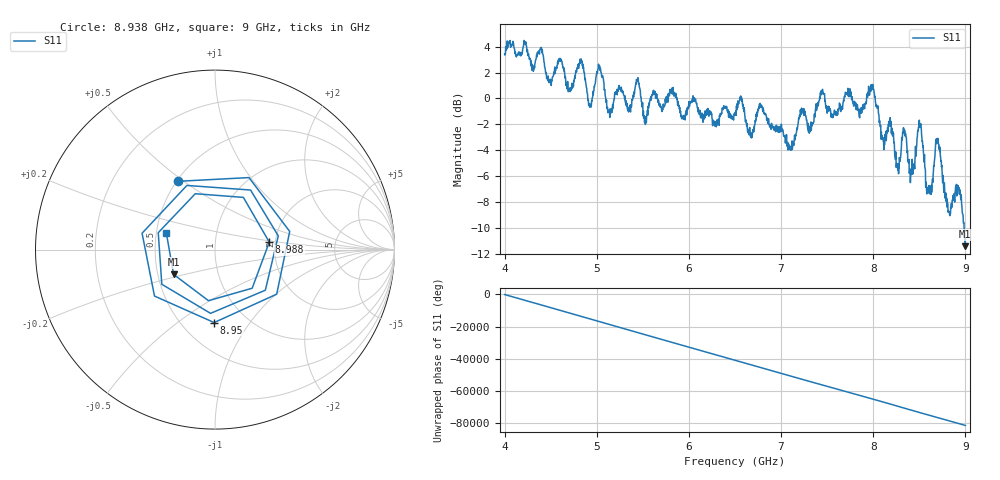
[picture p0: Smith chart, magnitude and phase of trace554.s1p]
! Created with skrf 1.8.0 (http://scikit-rf.org).
# Hz S RI R 50.0
!freq ReS11 ImS11
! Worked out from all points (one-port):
!   1601 points, 4 GHz to 9 GHz, reference 50 ohm
!   lowest |S11| = -11.4 dB at 8.997 GHz (marker M1), VSWR 1.74, Z = 30.3 - j9.01 ohm
!   |S11| at or under -10 dB: 8.98627 GHz to end of sweep
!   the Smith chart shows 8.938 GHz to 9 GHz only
!   S11 on the Smith chart (normalised r, x): 8.938 GHz: 0.51, +0.48; 8.95 GHz: 0.71, -0.69; 8.988 GHz: 1.86, +0.17; 9 GHz: 0.57, +0.11
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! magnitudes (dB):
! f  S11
! 4 GHz  3.4
! 4.625 GHz  2.7
! 4.703 GHz  0.6
! 4.831 GHz  3.1
! 4.928 GHz  -0.4
! 5.022 GHz  2.4
! 5.134 GHz  -0.9
! 5.25 GHz  0.8
! 5.447 GHz  1.6
! 5.528 GHz  -2.0
! 5.875 GHz  -0.3
! 6.5 GHz  -1.3
! 7.125 GHz  -3.7
! 7.444 GHz  0.6
! 7.75 GHz  0.4
! 7.991 GHz  0.9
! 8.109 GHz  -3.3
! 8.375 GHz  -4.9
! 8.428 GHz  -5.5
! 8.503 GHz  -1.9
! 8.594 GHz  -7.0
! 8.7 GHz  -3.2
! 8.812 GHz  -8.8
! 8.938 GHz  -7.3
! 8.95 GHz  -7.8
! 8.988 GHz  -10.3
! 8.997 GHz  -11.4
! 9 GHz  -10.9
